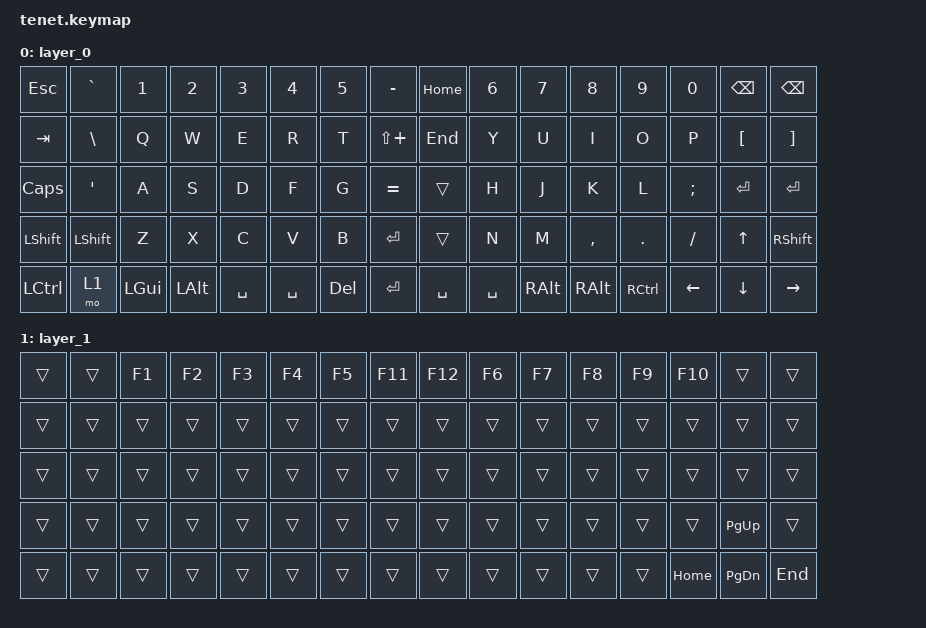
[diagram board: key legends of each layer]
/*
 * Copyright (c) 2020 The ZMK Contributors
 *
 * SPDX-License-Identifier: MIT
 */

#include <behaviors.dtsi>
#include <dt-bindings/zmk/keys.h>

/ {
    combos {
        compatible = "zmk,combos";

        f1 {
            bindings = <&kp F1>;
            key-positions = <32 1>;
            timeout-ms = <2000>;
        };

        f2 {
            bindings = <&kp F2>;
            key-positions = <32 2>;
            timeout-ms = <2000>;
        };
    };

    keymap {
        compatible = "zmk,keymap";

        layer_0 {
            bindings = <
&kp ESC    &kp GRAVE  &kp N1    &kp N2    &kp N3     &kp N4     &kp N5   &kp MINUS     &kp HOME   &kp N6     &kp N7    &kp N8     &kp N9     &kp N0    &kp BSPC  &kp BSPC
&kp TAB    &kp BSLH   &kp Q     &kp W     &kp E      &kp R      &kp T    &kp LS(PLUS)  &kp END    &kp Y      &kp U     &kp I      &kp O      &kp P     &kp LBKT  &kp RBKT
&kp CAPS   &kp APOS   &kp A     &kp S     &kp D      &kp F      &kp G    &kp EQUAL     &trans     &kp H      &kp J     &kp K      &kp L      &kp SEMI  &kp RET   &kp RET
&kp LSHFT  &kp LSHFT  &kp Z     &kp X     &kp C      &kp V      &kp B    &kp RET       &trans     &kp N      &kp M     &kp COMMA  &kp DOT    &kp FSLH  &kp UP    &kp RSHFT
&kp LCTRL  &mo 1      &kp LGUI  &kp LALT  &kp SPACE  &kp SPACE  &kp DEL  &kp RET       &kp SPACE  &kp SPACE  &kp RALT  &kp RALT   &kp RCTRL  &kp LEFT  &kp DOWN  &kp RIGHT
            >;
        };

        layer_1 {
            bindings = <
&trans  &trans  &kp F1  &kp F2  &kp F3  &kp F4  &kp F5  &kp F11  &kp F12  &kp F6  &kp F7  &kp F8  &kp F9  &kp F10   &trans     &trans
&trans  &trans  &trans  &trans  &trans  &trans  &trans  &trans   &trans   &trans  &trans  &trans  &trans  &trans    &trans     &trans
&trans  &trans  &trans  &trans  &trans  &trans  &trans  &trans   &trans   &trans  &trans  &trans  &trans  &trans    &trans     &trans
&trans  &trans  &trans  &trans  &trans  &trans  &trans  &trans   &trans   &trans  &trans  &trans  &trans  &trans    &kp PG_UP  &trans
&trans  &trans  &trans  &trans  &trans  &trans  &trans  &trans   &trans   &trans  &trans  &trans  &trans  &kp HOME  &kp PG_DN  &kp END
            >;
        };
    };
};
